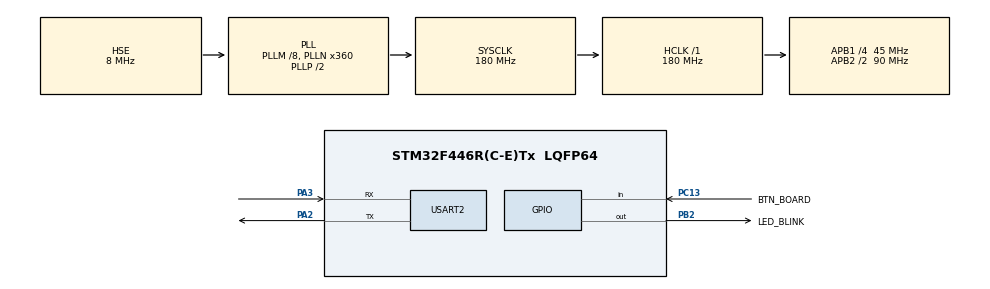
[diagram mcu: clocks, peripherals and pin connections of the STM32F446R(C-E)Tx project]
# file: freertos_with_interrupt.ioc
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FREERTOS.Tasks01=defaultTask,24,128,StartDefaultTask,Default,NULL,Dynamic,NULL,NULL
FREERTOS.configUSE_NEWLIB_REENTRANT=1
Mcu.Family=STM32F4
Mcu.Name=STM32F446R(C-E)Tx
Mcu.Package=LQFP64
NVIC.PriorityGroup=NVIC_PRIORITYGROUP_4
NVIC.TIM2_IRQn=true\:5\:0\:false\:false\:true\:true\:true\:true\:true
NVIC.TIM8_TRG_COM_TIM14_IRQn=true\:15\:0\:false\:false\:true\:false\:false\:true\:true
NVIC.TimeBase=TIM8_TRG_COM_TIM14_IRQn
NVIC.TimeBaseIP=TIM14
PA13.Mode=Serial_Wire
PA13.Signal=SYS_JTMS-SWDIO
PA14.Mode=Serial_Wire
PA14.Signal=SYS_JTCK-SWCLK
PA2.Mode=Asynchronous
PA2.Signal=USART2_TX
PA3.Mode=Asynchronous
PA3.Signal=USART2_RX
PB2.GPIO_Label=LED_BLINK
PB2.Signal=GPIO_Output
PC13.GPIO_Label=BTN_BOARD
PC13.Signal=GPIO_Input
PH0-OSC_IN.Mode=HSE-External-Oscillator
PH0-OSC_IN.Signal=RCC_OSC_IN
PH1-OSC_OUT.Mode=HSE-External-Oscillator
PH1-OSC_OUT.Signal=RCC_OSC_OUT
ProjectManager.HeapSize=0x200
ProjectManager.StackSize=0x400
ProjectManager.TargetToolchain=STM32CubeIDE
RCC.AHBFreq_Value=180000000
RCC.APB1CLKDivider=RCC_HCLK_DIV4
RCC.APB1Freq_Value=45000000
RCC.APB1TimFreq_Value=90000000
RCC.APB2CLKDivider=RCC_HCLK_DIV2
RCC.APB2Freq_Value=90000000
RCC.APB2TimFreq_Value=180000000
RCC.CortexFreq_Value=180000000
RCC.HCLKFreq_Value=180000000
RCC.HSE_VALUE=8000000
RCC.PLLM=8
RCC.PLLN=360
RCC.PLLSourceVirtual=RCC_PLLSOURCE_HSE
RCC.SYSCLKFreq_VALUE=180000000
RCC.SYSCLKSource=RCC_SYSCLKSOURCE_PLLCLK
RCC.USBFreq_Value=180000000
RCC.VCOOutputFreq_Value=360000000
TIM2.AutoReloadPreload=TIM_AUTORELOAD_PRELOAD_ENABLE
TIM2.CounterMode=TIM_COUNTERMODE_DOWN
TIM2.Period=1000000
TIM2.Prescaler=84-1
USART2.VirtualMode=VM_ASYNC
VP_FREERTOS_VS_CMSIS_V2.Mode=CMSIS_V2
VP_SYS_VS_tim14.Mode=TIM14
VP_TIM2_VS_ClockSourceINT.Mode=Internal
board=custom

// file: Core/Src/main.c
/* USER CODE BEGIN Header */
/**
  ******************************************************************************
  * @file           : main.c
  * @brief          : Main program body
  ******************************************************************************
  * @attention
  *
  * Copyright (c) 2026 STMicroelectronics.
  * All rights reserved.
  *
  * This software is licensed under terms that can be found in the LICENSE file
  * in the root directory of this software component.
  * If no LICENSE file comes with this software, it is provided AS-IS.
  *
  ******************************************************************************
  */
/* USER CODE END Header */
#include "main.h"
#include "cmsis_os.h"

/* USER CODE BEGIN Includes */
#include "task.h"
#include "semphr.h"
#include <stdio.h>
#include <string.h>
/* USER CODE END Includes */

TIM_HandleTypeDef htim2;
UART_HandleTypeDef huart2;

/* Definitions for defaultTask */
osThreadId_t defaultTaskHandle;
const osThreadAttr_t defaultTask_attributes = {
  .name = "defaultTask",
  .stack_size = 128 * 4,
  .priority = (osPriority_t) osPriorityNormal,
};
/* USER CODE BEGIN PV */
xSemaphoreHandle semaforo_interrupt;
/* USER CODE END PV */

void SystemClock_Config(void);
static void MX_GPIO_Init(void);
static void MX_USART2_UART_Init(void);
static void MX_TIM2_Init(void);
void StartDefaultTask(void *argument);

/* USER CODE BEGIN 0 */
void led_task(void *p) {
	while(1) {
       xSemaphoreTake(semaforo_interrupt, portMAX_DELAY);
       HAL_GPIO_TogglePin(LED_BLINK_GPIO_Port, LED_BLINK_Pin);
       // vTaskDelay(1000 / portTICK_PERIOD_MS);
	}
}

void serial_task(void *p) {
	char str[32];
	TickType_t xLastWakeTime;
	xLastWakeTime = xTaskGetTickCount();

	while(1) {
       snprintf(str, sizeof(str)-1, "%010lu\r\n", HAL_GetTick());
       HAL_UART_Transmit(&huart2, (uint8_t*)str, strlen(str), 100);
       vTaskDelayUntil(&xLastWakeTime, 500);
	}
}
/* USER CODE END 0 */

int main(void)
{

  /* MCU Configuration--------------------------------------------------------*/

  /* Reset of all peripherals, Initializes the Flash interface and the Systick. */
  HAL_Init();

  /* Configure the system clock */
  SystemClock_Config();

  /* Initialize all configured peripherals */
  MX_GPIO_Init();
  MX_USART2_UART_Init();
  MX_TIM2_Init();
  /* USER CODE BEGIN 2 */
  // uint32_t currentTicks;
  /* USER CODE END 2 */

  /* Init scheduler */
  osKernelInitialize();

  /* USER CODE BEGIN RTOS_SEMAPHORES */
  /* add semaphores, ... */
  semaforo_interrupt = xSemaphoreCreateBinary();
  /* USER CODE END RTOS_SEMAPHORES */

  /* Create the thread(s) */
  /* creation of defaultTask */
  defaultTaskHandle = osThreadNew(StartDefaultTask, NULL, &defaultTask_attributes);

  /* USER CODE BEGIN RTOS_THREADS */
  /* add threads, ... */
  xTaskCreate(led_task, "LED", configMINIMAL_STACK_SIZE, NULL, osPriorityNormal, NULL);
  xTaskCreate(serial_task, "SERIAL", configMINIMAL_STACK_SIZE * 4, NULL, osPriorityNormal, NULL);
  /* USER CODE END RTOS_THREADS */

  /* USER CODE BEGIN RTOS_EVENTS */
  /* add events, ... */
  HAL_TIM_Base_Init(&htim2);
  /* USER CODE END RTOS_EVENTS */

  /* Start scheduler */
  osKernelStart();

  /* We should never get here as control is now taken by the scheduler */

  /* Infinite loop */
  while (1)
  {

  }
}

void SystemClock_Config(void)
{
  RCC_OscInitTypeDef RCC_OscInitStruct = {0};
  RCC_ClkInitTypeDef RCC_ClkInitStruct = {0};

  /** Configure the main internal regulator output voltage
  */
  __HAL_RCC_PWR_CLK_ENABLE();
  __HAL_PWR_VOLTAGESCALING_CONFIG(PWR_REGULATOR_VOLTAGE_SCALE1);

  /** Initializes the RCC Oscillators according to the specified parameters
  * in the RCC_OscInitTypeDef structure.
  */
  RCC_OscInitStruct.OscillatorType = RCC_OSCILLATORTYPE_HSE;
  RCC_OscInitStruct.HSEState = RCC_HSE_ON;
  RCC_OscInitStruct.PLL.PLLState = RCC_PLL_ON;
  RCC_OscInitStruct.PLL.PLLSource = RCC_PLLSOURCE_HSE;
  RCC_OscInitStruct.PLL.PLLM = 8;
  RCC_OscInitStruct.PLL.PLLN = 360;
  RCC_OscInitStruct.PLL.PLLP = RCC_PLLP_DIV2;
  RCC_OscInitStruct.PLL.PLLQ = 2;
  RCC_OscInitStruct.PLL.PLLR = 2;
  if (HAL_RCC_OscConfig(&RCC_OscInitStruct) != HAL_OK)
  {
    Error_Handler();
  }

  /** Activate the Over-Drive mode
  */
  if (HAL_PWREx_EnableOverDrive() != HAL_OK)
  {
    Error_Handler();
  }

  /** Initializes the CPU, AHB and APB buses clocks
  */
  RCC_ClkInitStruct.ClockType = RCC_CLOCKTYPE_HCLK|RCC_CLOCKTYPE_SYSCLK
                              |RCC_CLOCKTYPE_PCLK1|RCC_CLOCKTYPE_PCLK2;
  RCC_ClkInitStruct.SYSCLKSource = RCC_SYSCLKSOURCE_PLLCLK;
  RCC_ClkInitStruct.AHBCLKDivider = RCC_SYSCLK_DIV1;
  RCC_ClkInitStruct.APB1CLKDivider = RCC_HCLK_DIV4;
  RCC_ClkInitStruct.APB2CLKDivider = RCC_HCLK_DIV2;

  if (HAL_RCC_ClockConfig(&RCC_ClkInitStruct, FLASH_LATENCY_5) != HAL_OK)
  {
    Error_Handler();
  }
}

static void MX_TIM2_Init(void)
{

  TIM_ClockConfigTypeDef sClockSourceConfig = {0};
  TIM_MasterConfigTypeDef sMasterConfig = {0};

  htim2.Instance = TIM2;
  htim2.Init.Prescaler = 84-1;
  htim2.Init.CounterMode = TIM_COUNTERMODE_DOWN;
  htim2.Init.Period = 1000000;
  htim2.Init.ClockDivision = TIM_CLOCKDIVISION_DIV1;
  htim2.Init.AutoReloadPreload = TIM_AUTORELOAD_PRELOAD_ENABLE;
  if (HAL_TIM_Base_Init(&htim2) != HAL_OK)
  {
    Error_Handler();
  }
  sClockSourceConfig.ClockSource = TIM_CLOCKSOURCE_INTERNAL;
  if (HAL_TIM_ConfigClockSource(&htim2, &sClockSourceConfig) != HAL_OK)
  {
    Error_Handler();
  }
  sMasterConfig.MasterOutputTrigger = TIM_TRGO_RESET;
  sMasterConfig.MasterSlaveMode = TIM_MASTERSLAVEMODE_DISABLE;
  if (HAL_TIMEx_MasterConfigSynchronization(&htim2, &sMasterConfig) != HAL_OK)
  {
    Error_Handler();
  }

}

static void MX_USART2_UART_Init(void)
{

  huart2.Instance = USART2;
  huart2.Init.BaudRate = 115200;
  huart2.Init.WordLength = UART_WORDLENGTH_8B;
  huart2.Init.StopBits = UART_STOPBITS_1;
  huart2.Init.Parity = UART_PARITY_NONE;
  huart2.Init.Mode = UART_MODE_TX_RX;
  huart2.Init.HwFlowCtl = UART_HWCONTROL_NONE;
  huart2.Init.OverSampling = UART_OVERSAMPLING_16;
  if (HAL_UART_Init(&huart2) != HAL_OK)
  {
    Error_Handler();
  }

}

static void MX_GPIO_Init(void)
{
  GPIO_InitTypeDef GPIO_InitStruct = {0};

  /* GPIO Ports Clock Enable */
  __HAL_RCC_GPIOC_CLK_ENABLE();
  __HAL_RCC_GPIOH_CLK_ENABLE();
  __HAL_RCC_GPIOA_CLK_ENABLE();
  __HAL_RCC_GPIOB_CLK_ENABLE();

  /*Configure GPIO pin Output Level */
  HAL_GPIO_WritePin(LED_BLINK_GPIO_Port, LED_BLINK_Pin, GPIO_PIN_RESET);

  /*Configure GPIO pin : BTN_BOARD_Pin */
  GPIO_InitStruct.Pin = BTN_BOARD_Pin;
  GPIO_InitStruct.Mode = GPIO_MODE_INPUT;
  GPIO_InitStruct.Pull = GPIO_NOPULL;
  HAL_GPIO_Init(BTN_BOARD_GPIO_Port, &GPIO_InitStruct);

  /*Configure GPIO pin : LED_BLINK_Pin */
  GPIO_InitStruct.Pin = LED_BLINK_Pin;
  GPIO_InitStruct.Mode = GPIO_MODE_OUTPUT_PP;
  GPIO_InitStruct.Pull = GPIO_NOPULL;
  GPIO_InitStruct.Speed = GPIO_SPEED_FREQ_LOW;
  HAL_GPIO_Init(LED_BLINK_GPIO_Port, &GPIO_InitStruct);

}

void StartDefaultTask(void *argument)
{
  for(;;)
  {
    osDelay(1);
  }
}

void HAL_TIM_PeriodElapsedCallback(TIM_HandleTypeDef *htim)
{
  if (htim->Instance == TIM14)
  {
    HAL_IncTick();
  }
  /* USER CODE BEGIN Callback 1 */
  if (htim->Instance == TIM2) {
	  BaseType_t taskWithPrioity = 0;
	  xSemaphoreGiveFromISR(semaforo_interrupt, &taskWithPrioity);
	  portEND_SWITCHING_ISR(taskWithPrioity);
  }
  /* USER CODE END Callback 1 */
}

void Error_Handler(void)
{
  __disable_irq();
  while (1)
  {
  }
}
